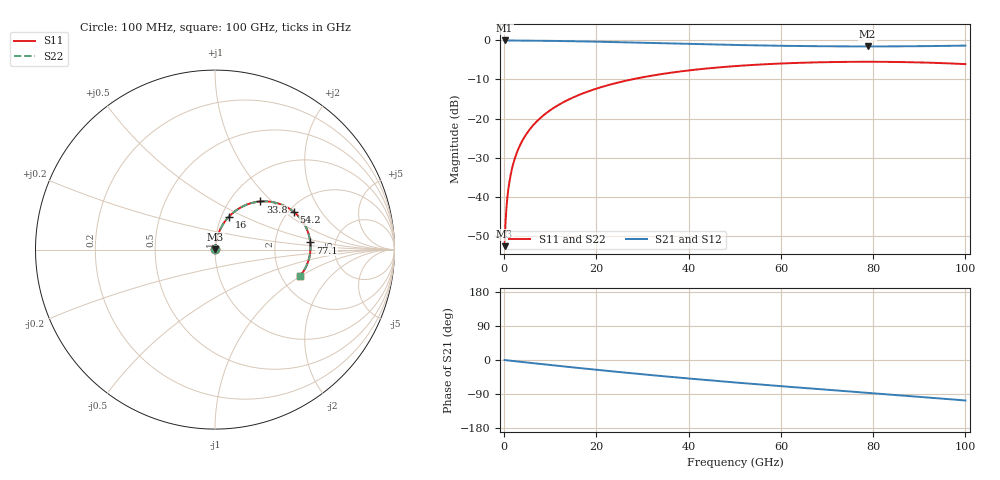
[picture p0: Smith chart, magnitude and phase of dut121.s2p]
! Touchstone file exported from HFSS 2026.1.0
!  File:  C:/ffzhzh/LocalFiles/Ansys_Project_Files/temp_train_RDL_121_1783499433_41296.aedt
!  Generated:  04:31:38 PM Jul  8, 2026
!  Design:  RDL
!  Project:  temp_train_RDL_121_1783499433_41296
! Variables:
!  h_bsmrdl = 2um
!  h_ox = 20um
!  h_rdl = 5um
!  h_sub = 80um
!  h_tmrdl = 3.52um
!  h_tsv = 80um
!  h_via = 3um
!  l_bsmrdl = 300um
!  l_sub = 753.92um
!  l_tmrdl = 353.92um
!  m_sub = 200um
!  pitch = 46.7um
!  r_tsv = 6um
!  s_tmrdl = 10um
!  w_bsmrdl = 18um
!  w_sub = 500um
!  w_tmrdl = 22.3um
!  x_tsv_center1 = 365.07um
!  x_tsv_center2 = 683.07um
!  x_tsv_center3 = 1059.29um
!  x_tsv_center4 = 1377.29um
!  x_tsv_center5 = 1753.51um
!  x_tsv_center6 = 2071.51um
# GHz S MA R 50.000000
! Terminal data exported
! Port[1] = TM_RDL1_1_T1
! Port[2] = TM_RDL1_1_T2
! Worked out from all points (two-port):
!   1000 points, 100 MHz to 100 GHz, reference 50 ohm
!   highest |S21| = -0.02 dB at 100 MHz (marker M1); lowest = -1.5 dB at 78.8 GHz (marker M2)
!   |S21| within 3 dB of the highest: start of sweep to end of sweep
!   lowest |S11| = -52.7 dB at 100 MHz (marker M3), VSWR 1.00, Z = 50.2 + j0.147 ohm
!   |S11| at or under -10 dB: start of sweep to 27.63 GHz
!   |S22| runs from -52.7 to -5.5 dB; largest |S21 - S12| = 1.5e-14
!   S11 on the Smith chart (normalised r, x): 100 MHz: 1.00, +0.00; 16 GHz: 1.08, +0.41; 33.8 GHz: 1.37, +0.85; 54.2 GHz: 2.12, +1.17; 77.1 GHz: 3.23, +0.36; 100 GHz: 2.54, -0.98
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0.1  0.002327 39.1  0.9982 -0.1  0.9982 -0.1  0.002327 39.1
! Gamma 0 0 0 0
! Port Impedance 50 0 50 0
0.4  0.005957 69.1  0.9979 -0.6  0.9979 -0.6  0.005957 69.1
0.8  0.01106 77.2  0.9977 -1.1  0.9977 -1.1  0.01106 77.2
1.1  0.01495 79.6  0.9976 -1.5  0.9976 -1.5  0.01495 79.6
1.4  0.01886 80.9  0.9974 -1.9  0.9974 -1.9  0.01886 80.9
2.4  0.03197 82.1  0.9969 -3.2  0.9969 -3.2  0.03197 82.1
3.9  0.05151 81.4  0.9956 -5.2  0.9956 -5.2  0.05151 81.4
5.9  0.07713 79.3  0.9932 -7.9  0.9932 -7.9  0.07713 79.3
8.6  0.1108 76.1  0.9891 -11.4  0.9891 -11.4  0.1108 76.1
11.9  0.1506 72.2  0.9828 -15.7  0.9828 -15.7  0.1506 72.2
16  0.1979 67.2  0.9736 -20.8  0.9736 -20.8  0.1979 67.2
16.8  0.2068 66.3  0.9716 -21.8  0.9716 -21.8  0.2068 66.3
24.2  0.284 57.6  0.9509 -30.9  0.9509 -30.9  0.284 57.5
33.4  0.3651 47.1  0.9223 -41.5  0.9223 -41.5  0.3651 47.1
33.8  0.3682 46.7  0.921 -42.0  0.921 -42.0  0.3682 46.7
50.1  0.469 29.7  0.874 -59.3  0.874 -59.3  0.469 29.7
54.2  0.4864 25.7  0.8645 -63.4  0.8645 -63.4  0.4864 25.6
66.7  0.5219 13.8  0.8439 -75.4  0.8439 -75.4  0.5219 13.8
77.1  0.5325 4.3  0.8372 -85.1  0.8372 -85.1  0.5325 4.2
78.8  0.5326 2.7  0.8371 -86.7  0.8371 -86.7  0.5327 2.7
83.4  0.5309 -1.5  0.838 -91.0  0.838 -91.0  0.5309 -1.5
100  0.4969 -17.1  0.8574 -106.8  0.8574 -106.8  0.4969 -17.0
